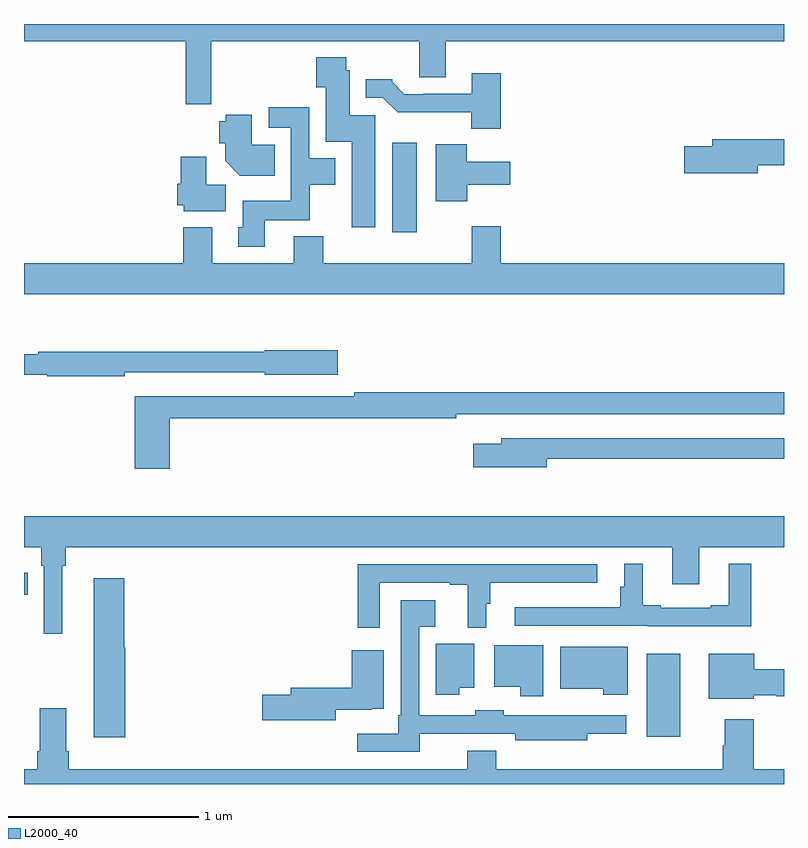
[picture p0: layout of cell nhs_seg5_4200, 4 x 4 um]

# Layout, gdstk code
import gdstk
lib = gdstk.Library(unit=1e-6, precision=1e-09)
def R(c, l, rs):  # rectangles x0, y0, x1, y1
    for r in rs: c.add(gdstk.rectangle(r[:2], r[2:], *l))
def P(c, l, *ps):  # polygons
    for p in ps: c.add(gdstk.Polygon(p, *l))
L2000_40 = (2000, 40)

nhs_seg5_4200 = lib.new_cell('nhs_seg5_4200')
R(nhs_seg5_4200, L2000_40, [(360.278,905.048,360.454,905.485), (357,905.794,357.02,905.91), (358.937,907.704,359.068,908.173)])
P(nhs_seg5_4200, L2000_40, [(357.986,908.708),(359.081,908.708),(359.081,908.518),(359.221,908.518),(359.221,908.708),(361,908.708),(361,908.799),(357,908.799),(357,908.708),(357.85,908.708),(357.85,908.376),(357.986,908.376)],
  [(358.849,908.319),(358.714,908.319),(358.714,908.556),(358.695,908.556),(358.695,908.623),(358.538,908.623),(358.538,908.467),(358.589,908.467),(358.589,908.18),(358.724,908.18),(358.724,907.728),(358.849,907.728)],
  [(359.51,908.539),(359.357,908.539),(359.357,908.433),(359.101,908.433),(359.101,908.43),(359.002,908.43),(358.938,908.494),(358.938,908.509),(358.799,908.509),(358.799,908.412),(358.887,908.412),(358.966,908.334),(359.355,908.334),(359.355,908.249),(359.51,908.249)],
  [(358.267,907.766),(358.503,907.766),(358.503,907.952),(358.639,907.952),(358.639,908.092),(358.5,908.092),(358.5,908.362),(358.287,908.362),(358.287,908.253),(358.404,908.253),(358.404,907.87),(358.151,907.87),(358.151,907.728),(358.127,907.728),(358.127,907.626),(358.267,907.626)],
  [(358.319,908.164),(358.198,908.164),(358.198,908.322),(358.062,908.322),(358.062,908.286),(358.028,908.286),(358.028,908.172),(358.058,908.172),(358.058,908.078),(358.136,908),(358.319,908)],
  [(360.862,908.056),(361,908.056),(361,908.192),(360.623,908.192),(360.623,908.156),(360.474,908.156),(360.474,908.014),(360.862,908.014)],
  [(359.332,907.952),(359.56,907.952),(359.56,908.074),(359.33,908.074),(359.33,908.167),(359.168,908.167),(359.168,907.866),(359.332,907.866)],
  [(358.063,907.952),(357.958,907.952),(357.958,908.101),(357.824,908.101),(357.824,907.959),(357.806,907.959),(357.806,907.845),(357.84,907.845),(357.84,907.814),(358.063,907.814)],
  [(361,907.54),(359.51,907.54),(359.51,907.735),(359.357,907.735),(359.357,907.54),(358.574,907.54),(358.574,907.681),(358.421,907.681),(358.421,907.54),(357.991,907.54),(357.991,907.729),(357.839,907.729),(357.839,907.54),(357,907.54),(357,907.376),(361,907.376)],
  [(357.53,906.966),(358.266,906.966),(358.266,906.953),(358.651,906.953),(358.651,907.083),(358.266,907.083),(358.266,907.075),(357.076,907.075),(357.076,907.062),(357,907.062),(357,906.954),(357.122,906.954),(357.122,906.946),(357.53,906.946)],
  [(357.767,906.724),(359.276,906.724),(359.276,906.744),(361,906.744),(361,906.86),(358.738,906.86),(358.738,906.84),(357.584,906.84),(357.584,906.459),(357.767,906.459)],
  [(359.752,906.51),(361,906.51),(361,906.618),(359.513,906.618),(359.513,906.589),(359.364,906.589),(359.364,906.467),(359.752,906.467)],
  [(357.202,905.948),(357.221,905.948),(357.221,906.044),(360.413,906.044),(360.413,905.85),(360.553,905.85),(360.553,906.044),(361,906.044),(361,906.208),(357,906.208),(357,906.044),(357.092,906.044),(357.092,905.948),(357.105,905.948),(357.105,905.589),(357.202,905.589)],
  [(360.827,905.959),(360.71,905.959),(360.71,905.74),(360.614,905.74),(360.614,905.727),(360.352,905.727),(360.352,905.74),(360.256,905.74),(360.256,905.959),(360.158,905.959),(360.158,905.838),(360.139,905.838),(360.139,905.728),(359.583,905.728),(359.583,905.631),(360.282,905.631),(360.282,905.63),(360.827,905.63)],
  [(358.872,905.859),(359.24,905.859),(359.24,905.847),(359.336,905.847),(359.336,905.622),(359.434,905.622),(359.434,905.748),(359.453,905.748),(359.453,905.858),(360.016,905.858),(360.016,905.955),(358.756,905.955),(358.756,905.622),(358.872,905.622)],
  [(357.532,905.517),(357.527,905.517),(357.527,905.881),(357.368,905.881),(357.368,905.046),(357.532,905.046)],
  [(359.082,905.063),(359.276,905.063),(359.276,905.064),(359.585,905.064),(359.585,905.03),(359.965,905.03),(359.965,905.063),(360.169,905.063),(360.169,905.16),(359.861,905.16),(359.861,905.161),(359.526,905.161),(359.526,905.188),(359.376,905.188),(359.376,905.16),(359.079,905.16),(359.079,905.627),(359.164,905.627),(359.164,905.767),(358.983,905.767),(358.983,905.161),(358.971,905.161),(358.971,905.064),(358.755,905.064),(358.755,904.968),(359.082,904.968)],
  [(359.29,905.306),(359.371,905.306),(359.371,905.536),(359.168,905.536),(359.168,905.27),(359.29,905.27)],
  [(359.734,905.53),(359.474,905.53),(359.474,905.312),(359.612,905.312),(359.612,905.262),(359.734,905.262)],
  [(360.178,905.521),(359.822,905.521),(359.822,905.3),(360.049,905.3),(360.049,905.27),(360.178,905.27)],
  [(358.642,905.19),(358.83,905.19),(358.83,905.195),(358.894,905.195),(358.894,905.503),(358.724,905.503),(358.724,905.306),(358.403,905.306),(358.403,905.27),(358.254,905.27),(358.254,905.135),(358.642,905.135)],
  [(360.84,905.267),(360.96,905.267),(360.96,905.26),(361,905.26),(361,905.402),(360.844,905.402),(360.844,905.485),(360.605,905.485),(360.605,905.249),(360.84,905.249)],
  [(361,904.876),(360.842,904.876),(360.842,905.14),(360.689,905.14),(360.689,905),(360.677,905),(360.677,904.876),(359.486,904.876),(359.486,904.975),(359.333,904.975),(359.333,904.876),(357.236,904.876),(357.236,904.972),(357.223,904.972),(357.223,905.197),(357.083,905.197),(357.083,904.972),(357.071,904.972),(357.071,904.876),(357,904.876),(357,904.799),(361,904.799)])

lib.write_gds('nhs_seg5_4200.gds')
